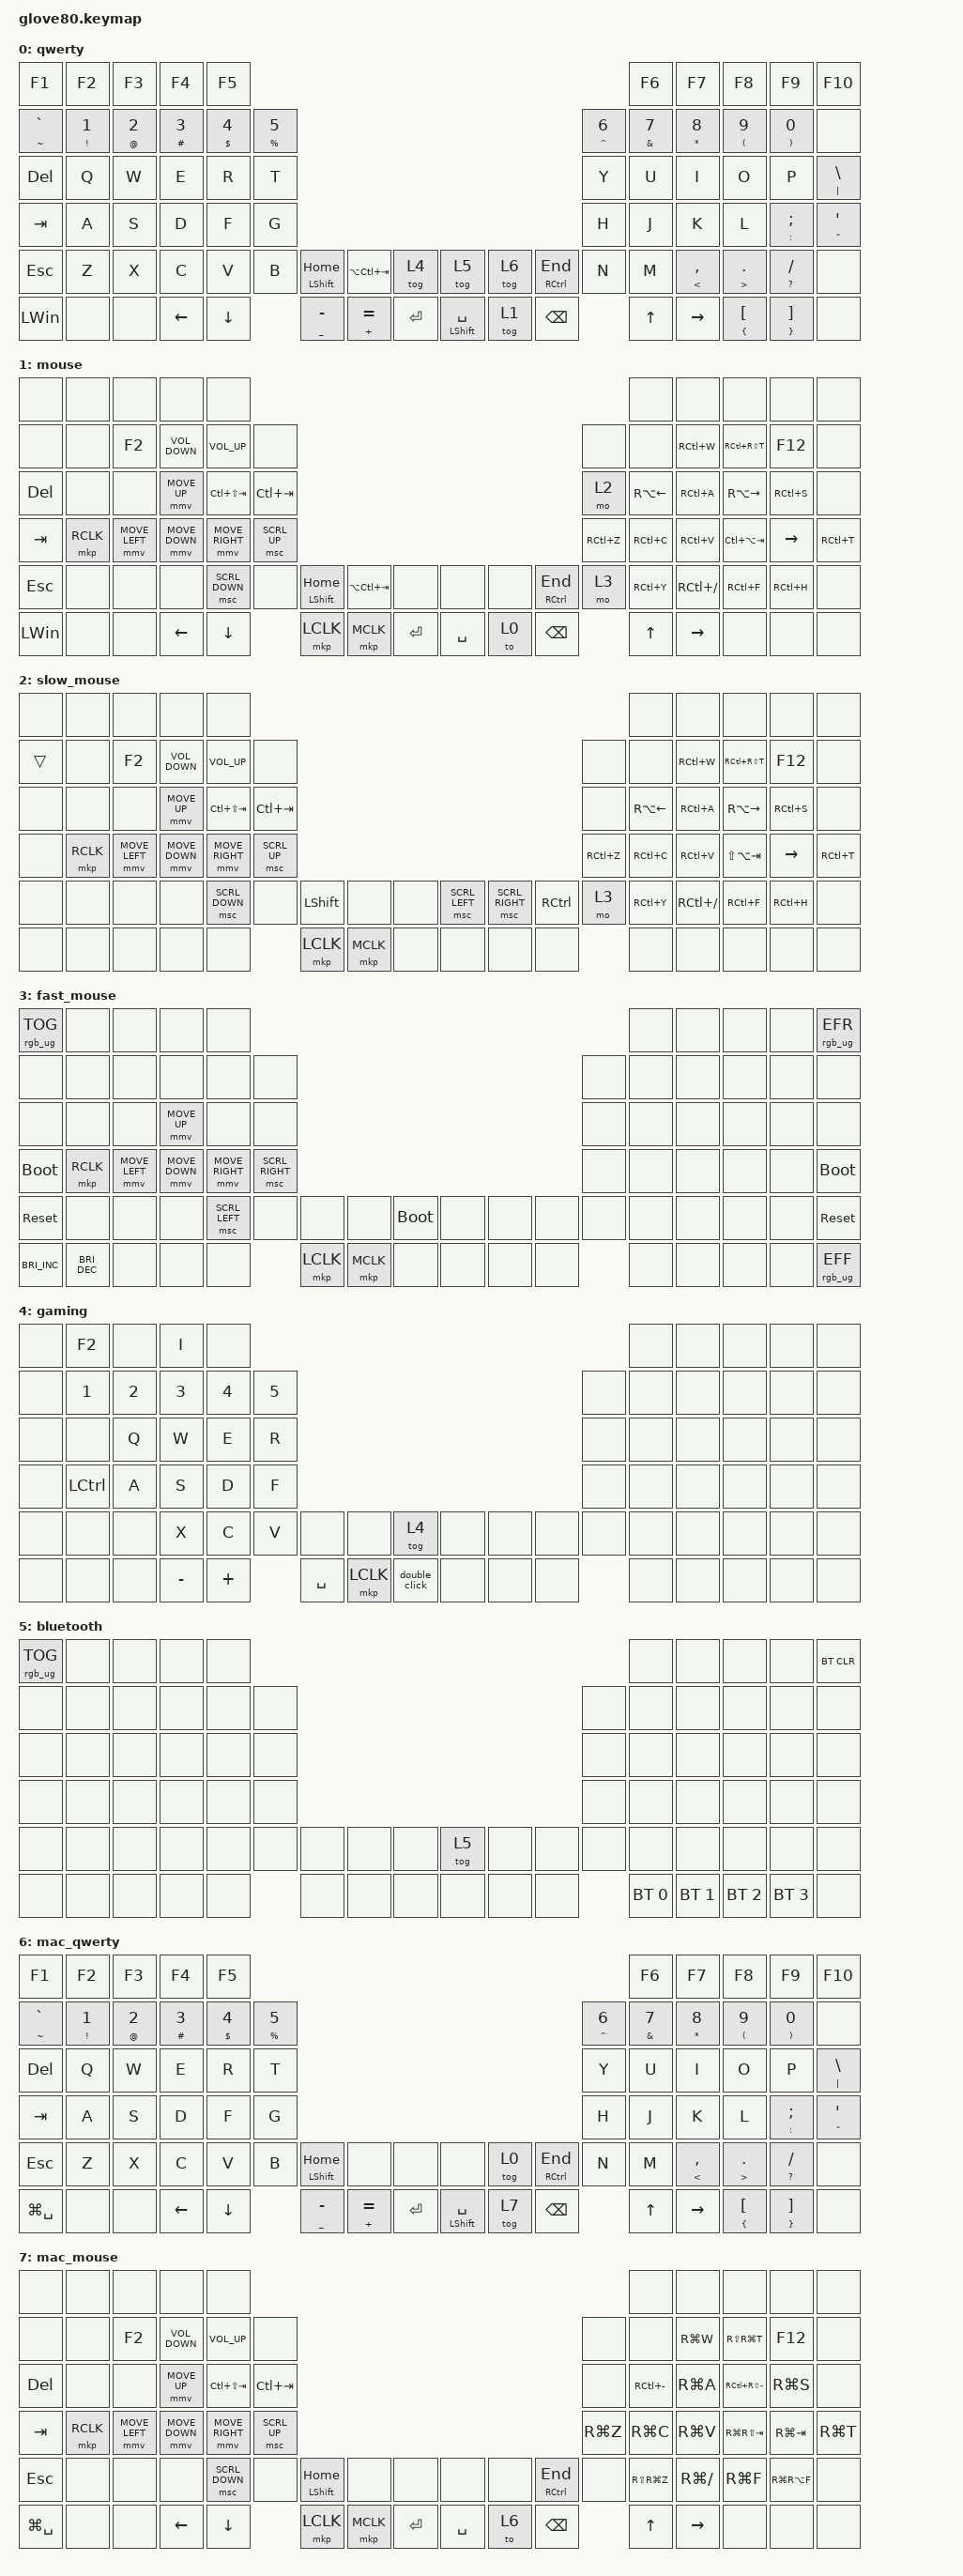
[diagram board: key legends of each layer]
/*
 * Copyright (c) 2020 The ZMK Contributors
 *
 * SPDX-License-Identifier: MIT
 */

#define ZMK_POINTING_DEFAULT_MOVE_VAL 1600  // default: 600
#define ZMK_POINTING_DEFAULT_SCRL_VAL 25   // default: 10

#include <input/processors.dtsi>
#include <dt-bindings/zmk/input_transform.h>
#include <behaviors.dtsi>
#include <dt-bindings/zmk/bt.h>
#include <dt-bindings/zmk/keys.h>
#include <dt-bindings/zmk/outputs.h>
#include <dt-bindings/zmk/pointing.h>
#include <dt-bindings/zmk/rgb.h>

// layers

#define KB 0
#define MOUSE 1
#define SLOW_MOUSE 2
#define FAST_MOUSE 3
#define GAMING 4
#define BLUETOOTH 5
#define MAC_QWERTY 6
#define MAC_MOUSE 7

&mmv_input_listener {
    // can try process_next - I think technically this layer is active so it applies it as well
    //    regular {
    //        layers = <MOUSE>;
    //        input-processors = <&zip_xy_scaler 2 1>;
    //    };

    precision {
        layers = <SLOW_MOUSE>;
        input-processors = <&zip_xy_scaler 1 4>;
    };

    turbo {
        layers = <FAST_MOUSE>;
        input-processors = <&zip_xy_scaler 4 1>;
    };
};

/ {
    behaviors {
        // For the "layer" key, it'd nice to be able to use it as either a shift or a toggle.
        // Configure it as a tap dance, so the first tap (or hold) is a &mo and the second tap is a &to

        layer_td: tap_dance_0 {
            compatible = "zmk,behavior-tap-dance";
            #binding-cells = <0>;
            tapping-term-ms = <200>;
            bindings = <&mo 1>, <&to 1>;
        };

        hold_tap: hold_tap {
            compatible = "zmk,behavior-hold-tap";
            label = "HOLD_TAP";
            bindings = <&kp>, <&kp>;

            #binding-cells = <2>;
            tapping-term-ms = <200>;
            flavor = "balanced";
        };

        hold_tap_layer: hold_tap_layer {
            compatible = "zmk,behavior-hold-tap";
            label = "HOLD_TAP_LAYER";
            bindings = <&mo>, <&kp>;

            #binding-cells = <2>;
            tapping-term-ms = <200>;
            flavor = "balanced";
        };

        hold_tap_fast: hold_tap_fast {
            compatible = "zmk,behavior-hold-tap";
            label = "HOLD_TAP_FAST";
            bindings = <&kp>, <&kp>;

            #binding-cells = <2>;
            tapping-term-ms = <0>;
        };

        tap_dance_windows: tap_dance_windows {
            compatible = "zmk,behavior-tap-dance";
            label = "TAP_DANCE_WINDOWS";
            #binding-cells = <0>;
            bindings = <&kp ESCAPE>, <&kp LEFT_GUI>;
        };

        mv: mv {
            compatible = "zmk,behavior-input-two-axis";
            #binding-cells = <1>;
            x-input-code = <INPUT_REL_X>;
            y-input-code = <INPUT_REL_Y>;
            time-to-max-speed-ms = <300>;
            acceleration-exponent = <1>;

            // label = "MV";
            // trigger-period-ms = <16>;
            // delay-ms = <0>;
        };

        mv_input_listener: mv_input_listener {
            compatible = "zmk,input-listener";
            device = <&mv>;
        };

        acc_mv: acc_mv {
            compatible = "zmk,behavior-input-two-axis";
            #binding-cells = <1>;
            x-input-code = <INPUT_REL_X>;
            y-input-code = <INPUT_REL_Y>;
            time-to-max-speed-ms = <64>;
            acceleration-exponent = <2>;

            // label = "ACC_MV";
            // trigger-period-ms = <16>;
            // delay-ms = <0>;
        };

        acc_mv_input_listener: acc_mv_input_listener {
            compatible = "zmk,input-listener";
            device = <&acc_mv>;
        };

        ht_mo_sl: ht_mo_sl {
            compatible = "zmk,behavior-hold-tap";
            label = "HT_MO_SL";
            bindings = <&mo>, <&sl>;

            #binding-cells = <2>;
            tapping-term-ms = <200>;
            flavor = "balanced";
        };

        one_shot_hold_toggle: one_shot_hold_toggle {
            compatible = "zmk,behavior-tap-dance";
            label = "ONE_SHOT_HOLD_TOGGLE";
            #binding-cells = <0>;
            bindings = <&ht_mo_sl 0 1>, <&tog 1>;
        };

        mo_tog_fast: mo_tog_fast {
            compatible = "zmk,behavior-tap-dance";
            label = "MO_TOG_FAST";
            #binding-cells = <0>;
            bindings = <&mo 0>, <&tog 1>;

            tapping-term-ms = <100>;
        };
    };

    macros {
        bt_0: bt_profile_macro_0 {
            compatible = "zmk,behavior-macro";
            #binding-cells = <0>;
            bindings = <&out OUT_BLE &bt BT_SEL 0>;
        };

        bt_1: bt_profile_macro_1 {
            compatible = "zmk,behavior-macro";
            #binding-cells = <0>;
            bindings = <&out OUT_BLE &bt BT_SEL 1>;
        };

        bt_2: bt_profile_macro_2 {
            compatible = "zmk,behavior-macro";
            #binding-cells = <0>;
            bindings = <&out OUT_BLE &bt BT_SEL 2>;
        };

        bt_3: bt_profile_macro_3 {
            compatible = "zmk,behavior-macro";
            #binding-cells = <0>;
            bindings = <&out OUT_BLE &bt BT_SEL 3>;
        };

        crtl_click: crtl_click {
            compatible = "zmk,behavior-macro";
            #binding-cells = <0>;
            bindings = <&kp LCTRL &mkp LCLK>;
            label = "CRTL_CLICK";
        };

        double_click: double_click {
            compatible = "zmk,behavior-macro";
            #binding-cells = <0>;
            bindings = <&mkp LCLK &mkp LCLK>;
            label = "DOUBLE_CLICK";
        };
    };

    keymap {
        compatible = "zmk,keymap";

        qwerty {
            // ---------------------------------------------------------------------------------------------------------------------------------
            // |  F1   |  F2 |  F3 |  F4  |  F5  |                                                               |  F6   |  F7   |  F8  |   F9  |  F10 |
            // |  =    |  1  |  2  |  3   |  4   |  5   |                                                 |  6   |   7   |   8   |  9   |   0   |   -  |
            // |  TAB  |  Q  |  W  |  E   |  R   |  T   |                                                 |  Y   |   U   |   I   |  O   |   P   |   \  |
            // |  ESC  |  A  |  S  |  D   |  F   |  G   |                                                 |  H   |   J   |   K   |  L   |   ;   |   '  |
            // |   `   |  Z  |  X  |  C   |  V   |  B   | LSHFT | LCTRL | LOWER | | LGUI  | RCTRL | RSHFT |  N   |   M   |   ,   |  .   |   /   | PGUP |
            // | MAGIC | HOME| END | LEFT | RIGHT|      | BSPC  | DEL   | LALT  | | RALT  | RET   | SPACE |      |  UP   | DOWN  |  [   |   ]   | PGDN |

            bindings = <
&kp F1                 &kp F2                          &kp F3                      &kp F4                   &kp F5                                                                                                                                                                                            &kp F6                  &kp F7                     &kp F8                             &kp F9                               &kp F10
&hold_tap TILDE GRAVE  &hold_tap EXCLAMATION NUMBER_1  &hold_tap AT_SIGN NUMBER_2  &hold_tap HASH NUMBER_3  &hold_tap DOLLAR NUMBER_4  &hold_tap PERCENT N5                                                                                                                         &hold_tap CARET NUMBER_6  &hold_tap AMPERSAND N7  &hold_tap ASTERISK N8      &hold_tap LEFT_PARENTHESIS N9      &hold_tap RIGHT_PARENTHESIS N0       &none
&kp DELETE             &kp Q                           &kp W                       &kp E                    &kp R                      &kp T                                                                                                                                        &kp Y                     &kp U                   &kp I                      &kp O                              &kp P                                &hold_tap PIPE BACKSLASH
&kp TAB                &kp A                           &kp S                       &kp D                    &kp F                      &kp G                                                                                                                                        &kp H                     &kp J                   &kp K                      &kp L                              &hold_tap COLON SEMI                 &hold_tap DOUBLE_QUOTES APOS
&kp ESCAPE             &kp Z                           &kp X                       &kp C                    &kp V                      &kp B                 &hold_tap LEFT_SHIFT HOME  &kp LA(LC(TAB))       &tog 4       &tog 5                      &tog 6  &hold_tap RCTRL END  &kp N                     &kp M                   &hold_tap LESS_THAN COMMA  &hold_tap GREATER_THAN DOT         &hold_tap QUESTION SLASH             &none
&kp LEFT_WIN           &none                           &none                       &kp LEFT                 &kp DOWN                                         &hold_tap UNDER MINUS      &hold_tap PLUS EQUAL  &kp ENTER    &hold_tap LEFT_SHIFT SPACE  &tog 1  &kp BACKSPACE                                  &kp UP                  &kp RIGHT                  &hold_tap LEFT_BRACE LEFT_BRACKET  &hold_tap RIGHT_BRACE RIGHT_BRACKET  &none
            >;
        };

        mouse {
            bindings = <
&none         &none      &none           &none              &none                                                                                                                                     &none         &none          &none            &none      &none
&none         &none      &kp F2          &kp C_VOLUME_DOWN  &kp C_VOLUME_UP  &none                                                                                                         &none      &none         &kp RC(W)      &kp RC(RS(T))    &kp F12    &none
&kp DELETE    &none      &none           &mmv MOVE_UP       &kp LC(LS(TAB))  &kp LC(TAB)                                                                                                   &mo 2      &kp RA(LEFT)  &kp RC(A)      &kp RA(RIGHT)    &kp RC(S)  &none
&kp TAB       &mkp RCLK  &mmv MOVE_LEFT  &mmv MOVE_DOWN     &mmv MOVE_RIGHT  &msc SCRL_UP                                                                                                  &kp RC(Z)  &kp RC(C)     &kp RC(V)      &kp LC(LA(TAB))  &kp RIGHT  &kp RC(T)
&kp ESCAPE    &none      &none           &none              &msc SCRL_DOWN   &none         &hold_tap LEFT_SHIFT HOME  &kp LA(LC(TAB))  &none        &none      &none  &hold_tap RCTRL END  &mo 3      &kp RC(Y)     &kp RC(SLASH)  &kp RC(F)        &kp RC(H)  &none
&kp LEFT_WIN  &none      &none           &kp LEFT           &kp DOWN                       &mkp LCLK                  &mkp MCLK        &kp ENTER    &kp SPACE  &to 0  &kp BACKSPACE                   &kp UP_ARROW  &kp RIGHT      &none            &none      &none
            >;
        };

        slow_mouse {
            bindings = <
&none   &none      &none           &none              &none                                                                                                                     &none         &none          &none            &none      &none
&trans  &none      &kp F2          &kp C_VOLUME_DOWN  &kp C_VOLUME_UP  &none                                                                                         &none      &none         &kp RC(W)      &kp RC(RS(T))    &kp F12    &none
&none   &none      &none           &mmv MOVE_UP       &kp LC(LS(TAB))  &kp LC(TAB)                                                                                   &none      &kp RA(LEFT)  &kp RC(A)      &kp RA(RIGHT)    &kp RC(S)  &none
&none   &mkp RCLK  &mmv MOVE_LEFT  &mmv MOVE_DOWN     &mmv MOVE_RIGHT  &msc SCRL_UP                                                                                  &kp RC(Z)  &kp RC(C)     &kp RC(V)      &kp LS(LA(TAB))  &kp RIGHT  &kp RC(T)
&none   &none      &none           &none              &msc SCRL_DOWN   &none         &kp LEFT_SHIFT  &none      &none    &msc SCRL_LEFT  &msc SCRL_RIGHT  &kp RCTRL  &mo 3      &kp RC(Y)     &kp RC(SLASH)  &kp RC(F)        &kp RC(H)  &none
&none   &none      &none           &none              &none                          &mkp LCLK       &mkp MCLK  &none    &none           &none            &none                 &none         &none          &none            &none      &none
            >;
        };

        fast_mouse {
            bindings = <
&rgb_ug RGB_TOG       &none                 &none           &none           &none                                                                                              &none  &none  &none  &none  &rgb_ug RGB_EFR
&none                 &none                 &none           &none           &none            &none                                                                      &none  &none  &none  &none  &none  &none
&none                 &none                 &none           &mmv MOVE_UP    &none            &none                                                                      &none  &none  &none  &none  &none  &none
&bootloader           &mkp RCLK             &mmv MOVE_LEFT  &mmv MOVE_DOWN  &mmv MOVE_RIGHT  &msc SCRL_RIGHT                                                            &none  &none  &none  &none  &none  &bootloader
&sys_reset            &none                 &none           &none           &msc SCRL_LEFT   &none            &none      &none      &bootloader    &none  &none  &none  &none  &none  &none  &none  &none  &sys_reset
&kp C_BRIGHTNESS_INC  &kp C_BRIGHTNESS_DEC  &none           &none           &none                             &mkp LCLK  &mkp MCLK  &none          &none  &none  &none         &none  &none  &none  &none  &rgb_ug RGB_EFF
            >;
        };

        gaming {
            bindings = <
&none  &kp F2     &none         &kp I         &none                                                                                    &none  &none  &none  &none  &none
&none  &kp N1     &kp NUMBER_2  &kp NUMBER_3  &kp NUMBER_4  &kp N5                                                              &none  &none  &none  &none  &none  &none
&none  &none      &kp Q         &kp W         &kp E         &kp R                                                               &none  &none  &none  &none  &none  &none
&none  &kp LCTRL  &kp A         &kp S         &kp D         &kp F                                                               &none  &none  &none  &none  &none  &none
&none  &none      &none         &kp X         &kp C         &kp V   &none      &none      &tog 4           &none  &none  &none  &none  &none  &none  &none  &none  &none
&none  &none      &none         &kp MINUS     &kp PLUS              &kp SPACE  &mkp LCLK  &double_click    &none  &none  &none         &none  &none  &none  &none  &none
            >;
        };

        bluetooth {
            bindings = <
&rgb_ug RGB_TOG  &none  &none  &none  &none                                                             &none         &none         &none         &none         &bt BT_CLR
&none            &none  &none  &none  &none  &none                                               &none  &none         &none         &none         &none         &none
&none            &none  &none  &none  &none  &none                                               &none  &none         &none         &none         &none         &none
&none            &none  &none  &none  &none  &none                                               &none  &none         &none         &none         &none         &none
&none            &none  &none  &none  &none  &none  &none  &none  &none    &tog 5  &none  &none  &none  &none         &none         &none         &none         &none
&none            &none  &none  &none  &none         &none  &none  &none    &none   &none  &none         &bt BT_SEL 0  &bt BT_SEL 1  &bt BT_SEL 2  &bt BT_SEL 3  &none
            >;
        };

        mac_qwerty {
            bindings = <
&kp F1                 &kp F2                          &kp F3                      &kp F4                   &kp F5                                                                                                                                                                                            &kp F6                  &kp F7                     &kp F8                             &kp F9                               &kp F10
&hold_tap TILDE GRAVE  &hold_tap EXCLAMATION NUMBER_1  &hold_tap AT_SIGN NUMBER_2  &hold_tap HASH NUMBER_3  &hold_tap DOLLAR NUMBER_4  &hold_tap PERCENT N5                                                                                                                         &hold_tap CARET NUMBER_6  &hold_tap AMPERSAND N7  &hold_tap ASTERISK N8      &hold_tap LEFT_PARENTHESIS N9      &hold_tap RIGHT_PARENTHESIS N0       &none
&kp DELETE             &kp Q                           &kp W                       &kp E                    &kp R                      &kp T                                                                                                                                        &kp Y                     &kp U                   &kp I                      &kp O                              &kp P                                &hold_tap PIPE BACKSLASH
&kp TAB                &kp A                           &kp S                       &kp D                    &kp F                      &kp G                                                                                                                                        &kp H                     &kp J                   &kp K                      &kp L                              &hold_tap COLON SEMI                 &hold_tap DOUBLE_QUOTES APOS
&kp ESCAPE             &kp Z                           &kp X                       &kp C                    &kp V                      &kp B                 &hold_tap LEFT_SHIFT HOME  &none                 &none        &none                       &tog 0  &hold_tap RCTRL END  &kp N                     &kp M                   &hold_tap LESS_THAN COMMA  &hold_tap GREATER_THAN DOT         &hold_tap QUESTION SLASH             &none
&kp LG(SPACE)          &none                           &none                       &kp LEFT                 &kp DOWN                                         &hold_tap UNDER MINUS      &hold_tap PLUS EQUAL  &kp ENTER    &hold_tap LEFT_SHIFT SPACE  &tog 7  &kp BACKSPACE                                  &kp UP                  &kp RIGHT                  &hold_tap LEFT_BRACE LEFT_BRACKET  &hold_tap RIGHT_BRACE RIGHT_BRACKET  &none
            >;
        };

        mac_mouse {
            bindings = <
&none          &none      &none           &none              &none                                                                                                                               &none          &none          &none              &none          &none
&none          &none      &kp F2          &kp C_VOLUME_DOWN  &kp C_VOLUME_UP  &none                                                                                                   &none      &none          &kp RG(W)      &kp RS(RG(T))      &kp F12        &none
&kp DELETE     &none      &none           &mmv MOVE_UP       &kp LC(LS(TAB))  &kp LC(TAB)                                                                                             &none      &kp RC(MINUS)  &kp RG(A)      &kp RC(RS(MINUS))  &kp RG(S)      &none
&kp TAB        &mkp RCLK  &mmv MOVE_LEFT  &mmv MOVE_DOWN     &mmv MOVE_RIGHT  &msc SCRL_UP                                                                                            &kp RG(Z)  &kp RG(C)      &kp RG(V)      &kp RG(RS(TAB))    &kp RG(TAB)    &kp RG(T)
&kp ESCAPE     &none      &none           &none              &msc SCRL_DOWN   &none         &hold_tap LEFT_SHIFT HOME  &none      &none        &none      &none  &hold_tap RCTRL END  &none      &kp RS(RG(Z))  &kp RG(SLASH)  &kp RG(F)          &kp RG(RA(F))  &none
&kp LG(SPACE)  &none      &none           &kp LEFT           &kp DOWN                       &mkp LCLK                  &mkp MCLK  &kp ENTER    &kp SPACE  &to 6  &kp BACKSPACE                   &kp UP_ARROW   &kp RIGHT      &none              &none          &none
            >;
        };
    };
};
